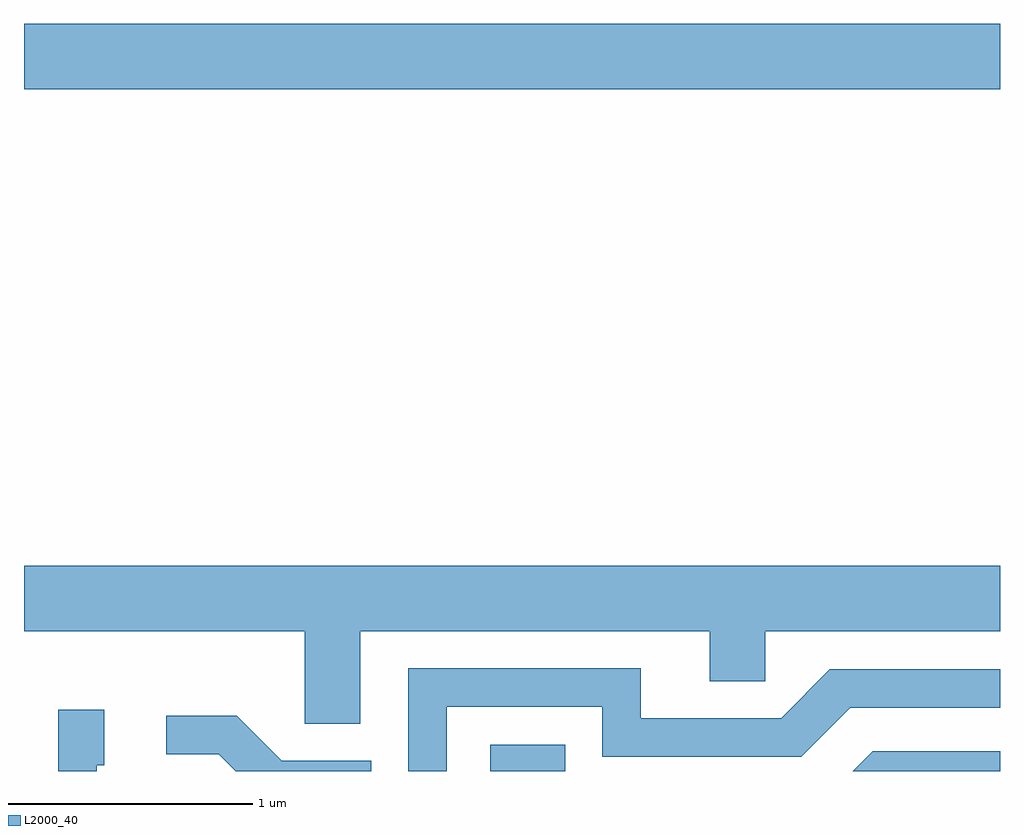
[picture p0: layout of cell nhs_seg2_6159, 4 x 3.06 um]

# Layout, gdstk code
import gdstk
lib = gdstk.Library(unit=1e-6, precision=1e-09)
def R(c, l, rs):  # rectangles x0, y0, x1, y1
    for r in rs: c.add(gdstk.rectangle(r[:2], r[2:], *l))
def P(c, l, *ps):  # polygons
    for p in ps: c.add(gdstk.Polygon(p, *l))
L2000_40 = (2000, 40)

nhs_seg2_6159 = lib.new_cell('nhs_seg2_6159')
R(nhs_seg2_6159, L2000_40, [(369.521,987.802,369.829,987.909), (367.611,990.596,371.611,990.864)])
P(nhs_seg2_6159, L2000_40, [(368.989,988.376),(370.421,988.376),(370.421,988.171),(370.649,988.171),(370.649,988.376),(371.611,988.376),(371.611,988.644),(367.611,988.644),(367.611,988.376),(368.761,988.376),(368.761,987.996),(368.989,987.996)],
  [(369.344,988.066),(369.981,988.066),(369.981,987.861),(370.797,987.861),(370.997,988.061),(371.611,988.061),(371.611,988.219),(370.914,988.219),(370.714,988.019),(370.139,988.019),(370.139,988.224),(369.186,988.224),(369.186,987.802),(369.344,987.802)],
  [(367.909,987.826),(367.939,987.826),(367.939,988.054),(367.751,988.054),(367.751,987.802),(367.909,987.802)],
  [(369.034,987.844),(368.667,987.844),(368.482,988.029),(368.193,988.029),(368.193,987.871),(368.409,987.871),(368.478,987.802),(369.034,987.802)],
  [(371.611,987.884),(371.089,987.884),(371.007,987.802),(371.611,987.802)])

lib.write_gds('nhs_seg2_6159.gds')
